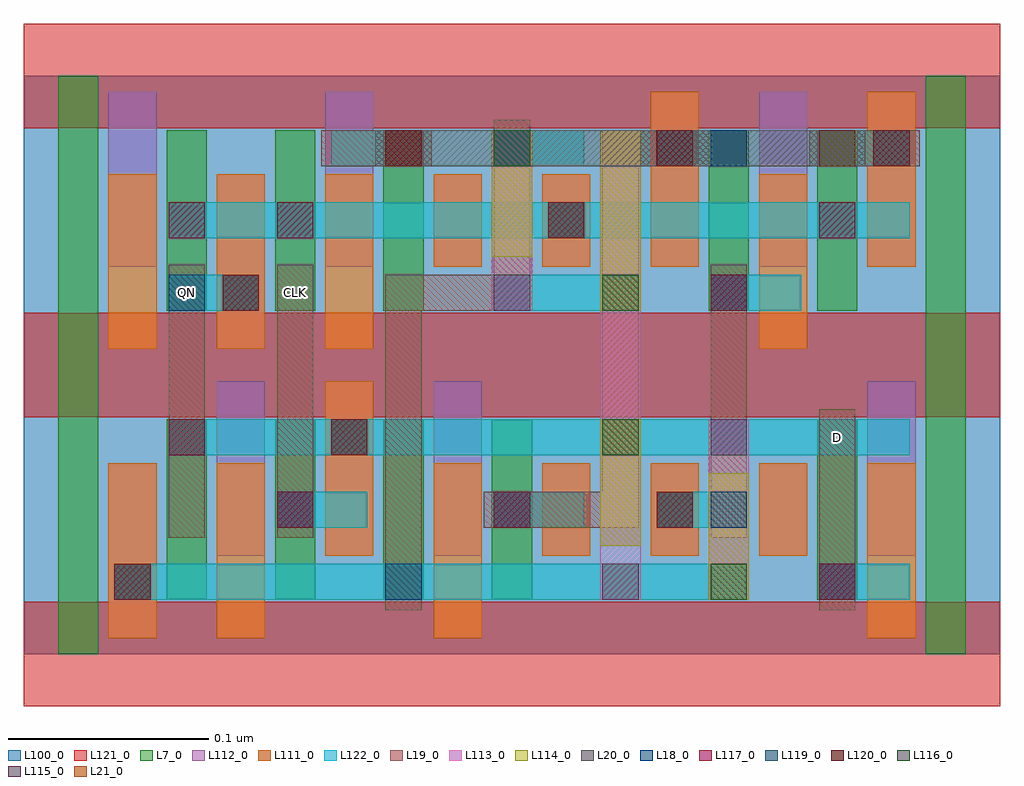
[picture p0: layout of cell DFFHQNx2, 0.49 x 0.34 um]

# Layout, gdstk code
import gdstk
lib = gdstk.Library(unit=1e-6, precision=2.5e-10)
def R(c, l, rs):  # rectangles x0, y0, x1, y1
    for r in rs: c.add(gdstk.rectangle(r[:2], r[2:], *l))
def A(c, l, x, y, w, h, nx, ny, dx, dy):  # array of equal rectangles
    R(c, l, [(x+i*dx, y+j*dy, x+i*dx+w, y+j*dy+h) for i in range(nx) for j in range(ny)])
def P(c, l, *ps):  # polygons
    for p in ps: c.add(gdstk.Polygon(p, *l))
L7_0 = (7, 0)
L18_0 = (18, 0)
L19_0 = (19, 0)
L20_0 = (20, 0)
L21_0 = (21, 0)
L100_0 = (100, 0)
L111_0 = (111, 0)
L112_0 = (112, 0)
L113_0 = (113, 0)
L114_0 = (114, 0)
L115_0 = (115, 0)
L116_0 = (116, 0)
L117_0 = (117, 0)
L119_0 = (119, 0)
L120_0 = (120, 0)
L121_0 = (121, 0)
L122_0 = (122, 0)

dffhqnx2 = lib.new_cell('DFFHQNx2')
A(dffhqnx2, L7_0, 0.071, 0.027, 0.02, 0.09, 4, 1, 0.054, 0)
A(dffhqnx2, L7_0, 0.071, 0.171, 0.02, 0.09, 3, 1, 0.054, 0)
R(dffhqnx2, L7_0, [(0.017,0,0.037,0.144), (0.449,0,0.469,0.144), (0.395,0.027,0.415,0.117), (0.017,0.144,0.037,0.288), (0.449,0.144,0.469,0.288), (0.341,0.171,0.361,0.261), (0.395,0.171,0.415,0.261)])
A(dffhqnx2, L18_0, 0.126, 0.063, 0.018, 0.018, 3, 1, 0.108, 0)
R(dffhqnx2, L18_0, [(0.18,0.027,0.198,0.045), (0.396,0.027,0.414,0.045), (0.072,0.171,0.09,0.189), (0.342,0.171,0.36,0.189), (0.18,0.243,0.198,0.261), (0.234,0.243,0.252,0.261), (0.342,0.243,0.36,0.261), (0.396,0.243,0.414,0.261)])
R(dffhqnx2, L19_0, [(0.396,0.022,0.414,0.122), (0.072,0.058,0.09,0.194), (0.126,0.058,0.144,0.194), (0.342,0.058,0.36,0.194), (0.148,0.243,0.203,0.261), (0.391,0.243,0.446,0.261)])
P(dffhqnx2, L19_0, [(0.288,0.261),(0.36,0.261),(0.36,0.243),(0.306,0.243),(0.306,0.063),(0.229,0.063),(0.229,0.081),(0.288,0.081)],
  [(0.234,0.266),(0.252,0.266),(0.252,0.171),(0.198,0.171),(0.198,0.022),(0.18,0.022),(0.18,0.189),(0.234,0.189)])
R(dffhqnx2, L20_0, [(0.175,0.243,0.419,0.261)])
R(dffhqnx2, L21_0, [(0.18,0.243,0.198,0.261), (0.396,0.243,0.414,0.261)])
R(dffhqnx2, L100_0, [(0,0,0.486,0.288)])
A(dffhqnx2, L111_0, 0.258, 0.049, 0.024, 0.046, 3, 1, 0.054, 0)
A(dffhqnx2, L111_0, 0.042, 0.152, 0.024, 0.087, 3, 1, 0.054, 0)
R(dffhqnx2, L111_0, [(0.042,0.008,0.066,0.095), (0.096,0.008,0.12,0.095), (0.204,0.008,0.228,0.095), (0.42,0.008,0.444,0.095), (0.15,0.049,0.174,0.136), (0.366,0.152,0.39,0.239), (0.204,0.193,0.228,0.239), (0.258,0.193,0.282,0.239), (0.312,0.193,0.336,0.28), (0.42,0.193,0.444,0.28)])
A(dffhqnx2, L112_0, 0.096, 0.049, 0.024, 0.087, 3, 1, 0.054, 0)
A(dffhqnx2, L112_0, 0.258, 0.049, 0.024, 0.046, 3, 1, 0.054, 0)
A(dffhqnx2, L112_0, 0.312, 0.193, 0.024, 0.087, 3, 1, 0.054, 0)
R(dffhqnx2, L112_0, [(0.042,0.008,0.066,0.095), (0.42,0.049,0.444,0.136), (0.096,0.152,0.12,0.239), (0.042,0.193,0.066,0.28), (0.15,0.193,0.174,0.28), (0.204,0.193,0.228,0.239), (0.258,0.193,0.282,0.239)])
R(dffhqnx2, L113_0, [(0.287,0.027,0.307,0.144), (0.341,0.027,0.361,0.117), (0.287,0.144,0.307,0.261), (0.233,0.171,0.253,0.261)])
R(dffhqnx2, L114_0, [(0.341,0.027,0.361,0.09), (0.287,0.054,0.307,0.117), (0.287,0.171,0.307,0.261), (0.233,0.198,0.253,0.261)])
R(dffhqnx2, L115_0, [(0.288,0.027,0.306,0.045), (0.342,0.099,0.36,0.117), (0.234,0.171,0.252,0.189)])
R(dffhqnx2, L116_0, [(0.342,0.027,0.36,0.045), (0.288,0.099,0.306,0.117), (0.288,0.171,0.306,0.189), (0.234,0.243,0.252,0.261)])
R(dffhqnx2, L117_0, [(0.396,0.027,0.414,0.045), (0.126,0.063,0.144,0.081), (0.234,0.063,0.252,0.081), (0.072,0.099,0.09,0.117), (0.342,0.171,0.36,0.189), (0.072,0.207,0.09,0.225), (0.126,0.207,0.144,0.225), (0.396,0.207,0.414,0.225), (0.18,0.243,0.198,0.261)])
R(dffhqnx2, L119_0, [(0.045,0.027,0.063,0.045), (0.315,0.063,0.333,0.081), (0.153,0.099,0.171,0.117), (0.099,0.171,0.117,0.189), (0.261,0.207,0.279,0.225), (0.315,0.243,0.333,0.261), (0.423,0.243,0.441,0.261)])
R(dffhqnx2, L120_0, [(0.045,0.027,0.063,0.045), (0.315,0.063,0.333,0.081), (0.153,0.099,0.171,0.117), (0.099,0.171,0.117,0.189), (0.261,0.207,0.279,0.225), (0.315,0.243,0.333,0.261), (0.423,0.243,0.441,0.261)])
A(dffhqnx2, L121_0, 0, -0.026, 0.486, 0.052, 1, 3, 0, 0.144)
A(dffhqnx2, L122_0, 0.153, 0.243, 0.045, 0.018, 4, 1, 0.081, 0)
R(dffhqnx2, L122_0, [(0.045,0.027,0.36,0.045), (0.396,0.027,0.441,0.045), (0.126,0.063,0.171,0.081), (0.234,0.063,0.279,0.081), (0.315,0.063,0.36,0.081), (0.072,0.099,0.441,0.117), (0.072,0.171,0.117,0.189), (0.234,0.171,0.306,0.189), (0.342,0.171,0.387,0.189), (0.072,0.207,0.441,0.225)])
dffhqnx2.add(gdstk.Label('QN', (0.081,0.18), layer=19, texttype=251))
dffhqnx2.add(gdstk.Label('D', (0.405,0.108), layer=19, texttype=251))
dffhqnx2.add(gdstk.Label('CLK', (0.135,0.18), layer=19, texttype=251))

lib.write_gds('DFFHQNx2.gds')
